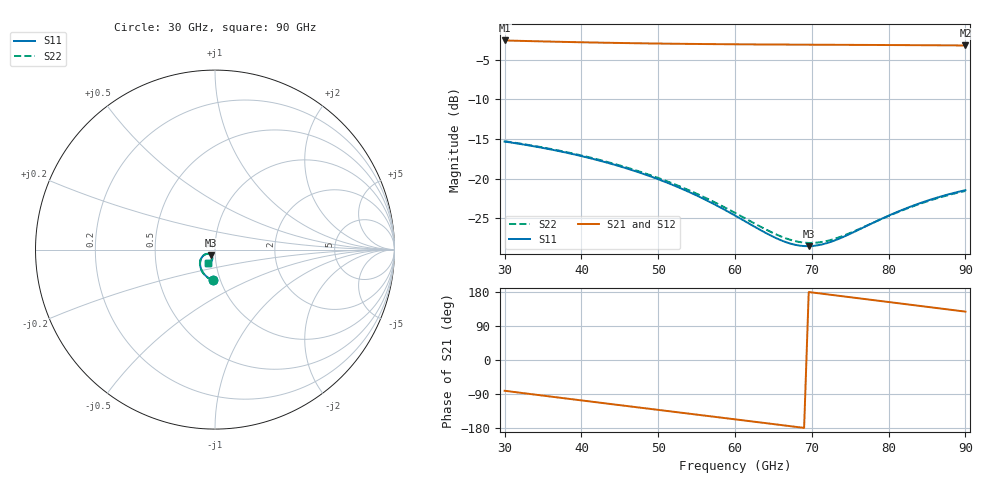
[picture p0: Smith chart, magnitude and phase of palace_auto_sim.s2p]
#  GHZ S DB R 50
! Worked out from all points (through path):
!   101 points, 30 GHz to 90 GHz, reference 50 ohm
!   highest |S21| = -2.60 dB at 30 GHz (marker M1); lowest = -3.2 dB at 90 GHz (marker M2)
!   group delay of S21, straight-line fit = 6.98 ps
!   lowest |S11| = -28.5 dB at 69.6 GHz (marker M3), VSWR 1.08, Z = 47.7 - j2.82 ohm
!   |S11| at or under -10 dB: start of sweep to end of sweep
!   |S22| runs from -28.1 to -15.3 dB; largest |S21 - S12| = 8.1e-14
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30  -15.33 -94.0  -2.60 -81.2  -2.60 -81.2  -15.28 -94.0
32.4  -15.69 -101.0  -2.66 -87.3  -2.66 -87.3  -15.64 -101.0
34.8  -16.09 -107.7  -2.71 -93.5  -2.71 -93.5  -16.04 -107.7
37.2  -16.55 -114.2  -2.77 -99.5  -2.77 -99.5  -16.48 -114.2
40.2  -17.20 -122.0  -2.83 -107.1  -2.83 -107.1  -17.12 -122.0
45  -18.44 -133.6  -2.91 -119.1  -2.91 -119.1  -18.33 -133.5
47.4  -19.18 -138.8  -2.95 -125.1  -2.95 -125.1  -19.04 -138.7
50.4  -20.21 -144.6  -2.99 -132.6  -2.99 -132.6  -20.05 -144.5
55.2  -22.20 -151.6  -3.04 -144.6  -3.04 -144.6  -21.97 -151.5
57.6  -23.37 -153.5  -3.06 -150.6  -3.06 -150.6  -23.09 -153.5
60  -24.64 -153.8  -3.08 -156.6  -3.08 -156.6  -24.30 -154.0
63  -26.29 -150.9  -3.10 -164.1  -3.10 -164.1  -25.87 -151.5
66  -27.76 -143.0  -3.11 -171.6  -3.11 -171.6  -27.28 -144.6
67.8  -28.32 -136.0  -3.12 -176.1  -3.12 -176.1  -27.85 -138.4
69.6  -28.49 -128.1  -3.13 179.3  -3.13 179.3  -28.09 -131.2
70.2  -28.46 -125.5  -3.13 177.8  -3.13 177.8  -28.08 -128.7
72  -28.10 -118.2  -3.14 173.3  -3.14 173.3  -27.83 -121.8
73.8  -27.46 -112.5  -3.15 168.7  -3.15 168.7  -27.29 -116.2
76.8  -26.10 -106.9  -3.16 161.1  -3.16 161.1  -26.06 -110.3
80.4  -24.49 -105.6  -3.17 152.0  -3.17 152.0  -24.53 -108.5
85.2  -22.72 -109.1  -3.20 139.8  -3.20 139.8  -22.80 -111.5
90  -21.45 -115.8  -3.23 127.6  -3.23 127.6  -21.54 -117.8
